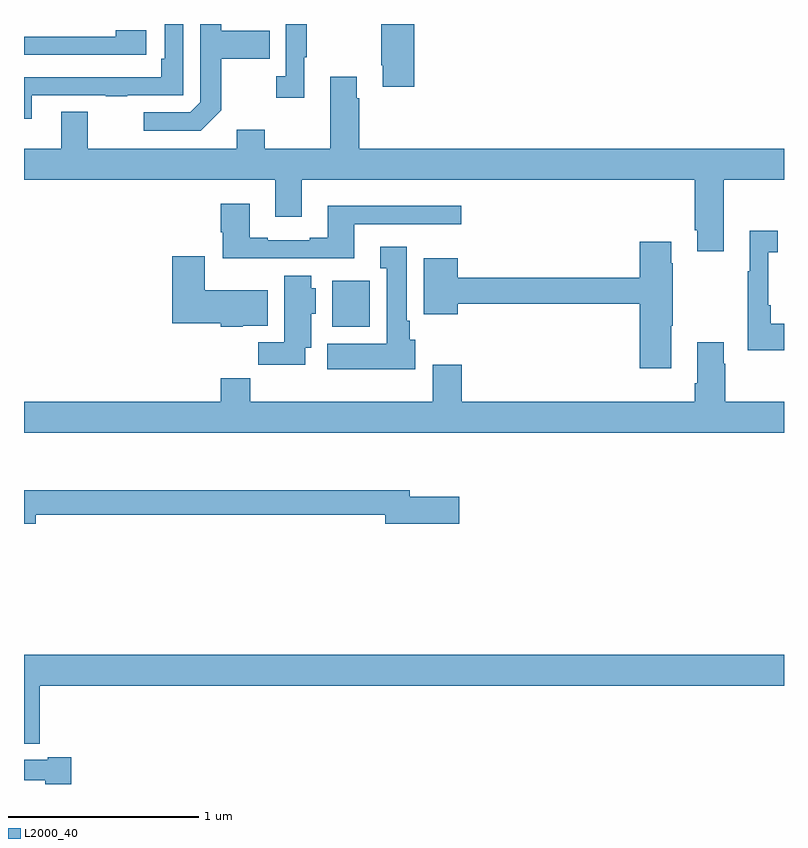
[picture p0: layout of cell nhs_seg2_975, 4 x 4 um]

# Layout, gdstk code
import gdstk
lib = gdstk.Library(unit=1e-6, precision=1e-09)
def R(c, l, rs):  # rectangles x0, y0, x1, y1
    for r in rs: c.add(gdstk.rectangle(r[:2], r[2:], *l))
def P(c, l, *ps):  # polygons
    for p in ps: c.add(gdstk.Polygon(p, *l))
L2000_40 = (2000, 40)

nhs_seg2_975 = lib.new_cell('nhs_seg2_975')
R(nhs_seg2_975, L2000_40, [(162.623,636.206,162.82,636.448)])
P(nhs_seg2_975, L2000_40, [(163.055,637.8),(162.88,637.8),(162.88,637.582),(162.887,637.582),(162.887,637.47),(163.055,637.47)],
  [(162.475,637.625),(162.487,637.625),(162.487,637.8),(162.378,637.8),(162.378,637.526),(162.327,637.526),(162.327,637.413),(162.475,637.413)],
  [(161.041,637.425),(161.431,637.425),(161.431,637.42),(161.543,637.42),(161.543,637.425),(161.838,637.425),(161.838,637.8),(161.742,637.8),(161.742,637.618),(161.722,637.618),(161.722,637.521),(161.047,637.521),(161.047,637.52),(161,637.52),(161,637.302),(161.041,637.302)],
  [(162.037,637.345),(162.037,637.618),(162.293,637.618),(162.293,637.765),(162.037,637.765),(162.037,637.8),(161.928,637.8),(161.928,637.389),(161.874,637.335),(161.631,637.335),(161.631,637.239),(161.931,637.239)],
  [(161.644,637.768),(161.483,637.768),(161.483,637.734),(161,637.734),(161,637.638),(161.644,637.638)],
  [(164.683,636.98),(165,636.98),(165,637.144),(162.764,637.144),(162.764,637.409),(162.751,637.409),(162.751,637.522),(162.611,637.522),(162.611,637.144),(162.267,637.144),(162.267,637.243),(162.119,637.243),(162.119,637.144),(161.335,637.144),(161.335,637.339),(161.195,637.339),(161.195,637.144),(161,637.144),(161,636.98),(162.323,636.98),(162.323,636.786),(162.463,636.786),(162.463,636.98),(164.531,636.98),(164.531,636.715),(164.543,636.715),(164.543,636.603),(164.683,636.603)],
  [(162.279,636.567),(162.739,636.567),(162.739,636.747),(163.3,636.747),(163.3,636.844),(162.599,636.844),(162.599,636.676),(162.503,636.676),(162.503,636.663),(162.283,636.663),(162.283,636.676),(162.187,636.676),(162.187,636.853),(162.035,636.853),(162.035,636.705),(162.047,636.705),(162.047,636.566),(162.279,636.566)],
  [(165,636.223),(164.929,636.223),(164.929,636.319),(164.916,636.319),(164.916,636.599),(164.968,636.599),(164.968,636.712),(164.819,636.712),(164.819,636.499),(164.808,636.499),(164.808,636.083),(165,636.083)],
  [(164.407,636.211),(164.415,636.211),(164.415,636.542),(164.407,636.542),(164.407,636.655),(164.24,636.655),(164.24,636.464),(163.282,636.464),(163.282,636.568),(163.103,636.568),(163.103,636.272),(163.282,636.272),(163.282,636.328),(164.24,636.328),(164.24,635.988),(164.407,635.988)],
  [(163.06,636.138),(163.03,636.138),(163.03,636.238),(163.015,636.238),(163.015,636.628),(162.875,636.628),(162.875,636.515),(162.908,636.515),(162.908,636.118),(162.596,636.118),(162.596,635.984),(163.06,635.984)],
  [(162.15,636.212),(162.283,636.212),(162.283,636.4),(161.95,636.4),(161.95,636.577),(161.78,636.577),(161.78,636.224),(162.036,636.224),(162.036,636.206),(162.15,636.206)],
  [(162.481,636.095),(162.511,636.095),(162.511,636.276),(162.535,636.276),(162.535,636.408),(162.511,636.408),(162.511,636.475),(162.371,636.475),(162.371,636.124),(162.232,636.124),(162.232,636.006),(162.481,636.006)],
  [(165,635.812),(164.691,635.812),(164.691,636.011),(164.683,636.011),(164.683,636.124),(164.543,636.124),(164.543,635.908),(164.531,635.908),(164.531,635.812),(163.304,635.812),(163.304,636.007),(163.151,636.007),(163.151,635.812),(162.191,635.812),(162.191,635.936),(162.035,635.936),(162.035,635.812),(161,635.812),(161,635.648),(165,635.648)],
  [(161.062,635.218),(162.902,635.218),(162.902,635.171),(163.291,635.171),(163.291,635.313),(163.03,635.313),(163.03,635.347),(161,635.347),(161,635.171),(161.062,635.171)],
  [(161.084,634.316),(165,634.316),(165,634.48),(161,634.48),(161,634.012),(161.084,634.012)],
  [(161.249,633.94),(161.126,633.94),(161.126,633.927),(161,633.927),(161,633.819),(161.113,633.819),(161.113,633.8),(161.249,633.8)])

lib.write_gds('nhs_seg2_975.gds')
